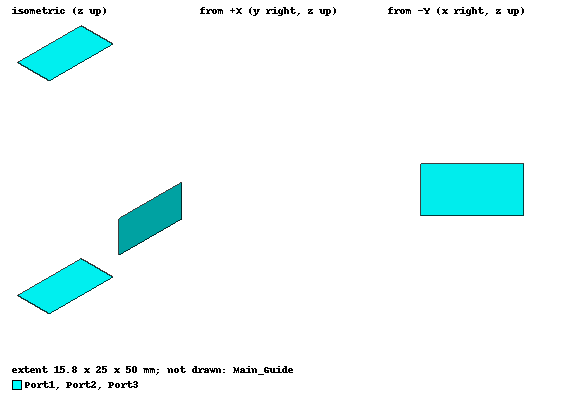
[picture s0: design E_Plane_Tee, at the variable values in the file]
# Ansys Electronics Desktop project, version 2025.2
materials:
  vacuum: permittivity=1
  air: permittivity=1.0006 permeability=1.0000004
  pec: conductivity=1e+30

design E_Plane_Tee (HFSS, HFSS Modal Network, model units mm)
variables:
  a = 15.7988mm
  c = 50mm
  b = 7.8994mm
  bmm = 0
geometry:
  Main_Guide [air] = box(corner=(-a/2, -b/2, -c/2), size=(a, b, c))
  Earm = box(corner=(-a/2, -b/2, -b/2), size=(a, c/2, b))
  Main_Guide.unite(Earm)
  Port1 = rectangle(corner=(-7.8994mm, 3.9497mm, 25mm), x_size=15.7988mm, y_size=-7.8994mm)
  Port2 = rectangle(corner=(-7.8994mm, -3.9497mm, -25mm), x_size=15.7988mm, y_size=7.8994mm)
  Port3 = rectangle(corner=(7.8994mm, 21.0503mm, 3.9497mm), z_size=-7.8994mm, x_size=-15.7988mm)
  Surface_cut [non-model] = rectangle(corner=(0mm, -20mm, -25mm), y_size=50mm, z_size=50mm)
  Surface_Cut_xz [non-model] = rectangle(corner=(32mm, 0mm, 25mm), z_size=-50mm, x_size=-66mm)
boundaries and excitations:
  PerfE1: Perfect E Objects=Main_Guide
  1: Wave Port Objects=Port1 WavePortType=Modal NumModes=1 Modes{Mode1{IntLine{(0, -3.9497, 25) -> (0, 3.9497, 25)} CharImp=Zpi}}
  2: Wave Port Objects=Port2 WavePortType=Modal NumModes=1 Modes{Mode1{IntLine{(0, -3.9497, -25) -> (0, 3.9497, -25)} CharImp=Zpi}}
  3: Wave Port Objects=Port3 WavePortType=Modal NumModes=1 Modes{Mode1{IntLine{(0, 21.0503, -3.9497) -> (0, 21.0503, 3.9497)} CharImp=Zpi}}
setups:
  Setup1: HfssDriven Frequency=15GHz MaxDeltaS=0.01 MaximumPasses=25 MinimumPasses=1 MinimumConvergedPasses=1 PercentRefinement=30 BasisOrder=1 PortAccuracy=2 DrivenSolverType="Direct Solver"
    sweep Sweep: 7.5GHz to 22.5GHz step 0.01GHz; Type=Interpolating SaveFields InterpTolerance=0.5 InterpMaxSolns=250 InterpUsePortImped=false PassivityErrorTolerance=0.0001
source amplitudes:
  1:1: 1W 0deg
  2:1, 3:1: 0W 0deg
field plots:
  Mag_E1: E Field over a plane on Setup1 : Sweep at Freq=15GHz Phase=60deg
  Vector_E1, Mag_E2: E Field over a plane on Setup1 : LastAdaptive at Freq=15GHz Phase=60deg
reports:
  S Parameter Plot1: dB(S(1,3)), dB(S(2,3)) vs Freq on Setup1 : Sweep; markers m1 at 15GHz, m2 at 9.49GHz
  S Parameter Plot2: S(1,3), S(2,3) on Setup1 : Sweep [Freq=all]
  Plot1: ang_deg(S(1,3)) - ang_deg(S(2,3)) vs Freq on Setup1 : Sweep; markers m1 at 15GHz, m2 at 13GHz
